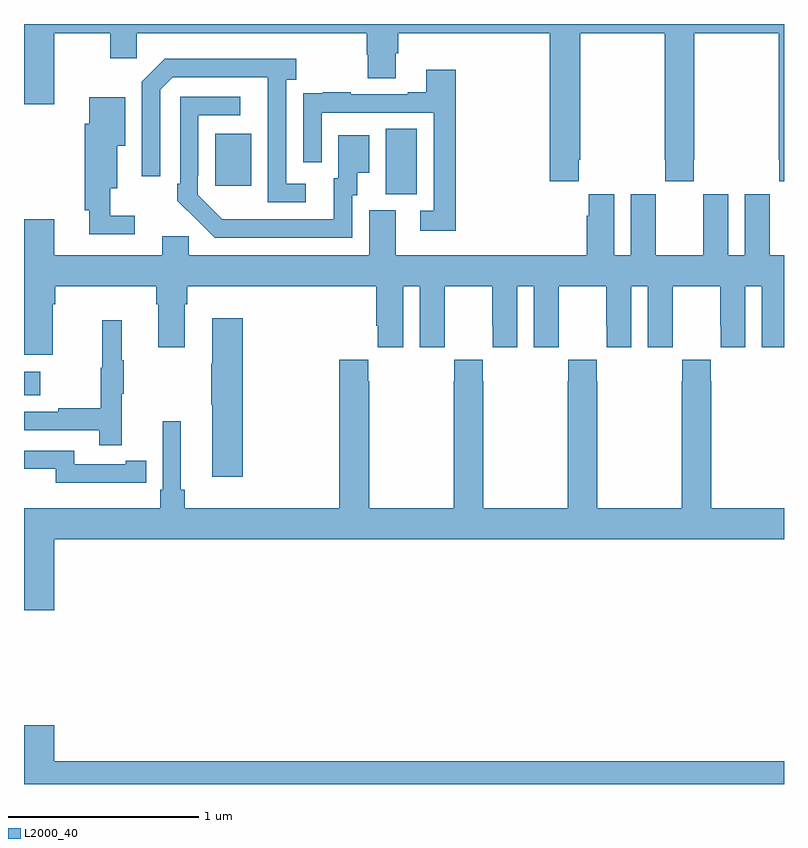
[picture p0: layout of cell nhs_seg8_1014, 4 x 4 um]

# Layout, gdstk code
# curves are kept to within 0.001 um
import gdstk
lib = gdstk.Library(unit=1e-6, precision=1e-09)
def R(c, l, rs):  # rectangles x0, y0, x1, y1
    for r in rs: c.add(gdstk.rectangle(r[:2], r[2:], *l))
def P(c, l, *ps):  # polygons
    for p in ps: c.add(gdstk.Polygon(p, *l))
L2000_40 = (2000, 40)

nhs_seg8_1014 = lib.new_cell('nhs_seg8_1014')
R(nhs_seg8_1014, L2000_40, [(177,1095.947,177.085,1096.069), (178.904,1097.005,179.068,1097.348), (178.007,1097.049,178.195,1097.323)])
P(nhs_seg8_1014, L2000_40, [(177,1097.478),(177.16,1097.478),(177.16,1097.852),(177.455,1097.852),(177.455,1097.721),(177.594,1097.721),(177.594,1097.852),(178.805,1097.852),(178.805,1097.739),(178.81,1097.739),(178.81,1097.614),(178.957,1097.614),(178.957,1097.746),(178.97,1097.746),(178.97,1097.852),(179.768,1097.852),(179.768,1097.073),(179.921,1097.073),(179.921,1097.185),(179.928,1097.185),(179.928,1097.852),(180.373,1097.852),(180.373,1097.185),(180.375,1097.185),(180.375,1097.073),(180.525,1097.073),(180.525,1097.185),(180.528,1097.185),(180.528,1097.852),(180.973,1097.852),(180.973,1097.185),(180.975,1097.185),(180.975,1097.073),(181,1097.073),(181,1097.9),(177,1097.9)],
  [(178.483,1097.058),(178.38,1097.058),(178.38,1097.606),(178.432,1097.606),(178.432,1097.716),(177.742,1097.716),(177.621,1097.595),(177.621,1097.1),(177.717,1097.1),(177.717,1097.553),(177.783,1097.619),(178.283,1097.619),(178.284,1096.962),(178.483,1096.962)],
  [(179.273,1097.659),(179.117,1097.659),(179.117,1097.542),(179.021,1097.542),(179.021,1097.529),(178.721,1097.529),(178.721,1097.542),(178.573,1097.542),(178.573,1097.535),(178.471,1097.535),(178.471,1097.426),(178.47,1097.426),(178.47,1097.172),(178.566,1097.172),(178.566,1097.433),(179.157,1097.433),(179.157,1096.917),(179.085,1096.917),(179.085,1096.812),(179.273,1096.812)],
  [(178.728,1096.998),(178.753,1096.998),(178.753,1097.117),(178.816,1097.117),(178.816,1097.314),(178.655,1097.314),(178.655,1097.088),(178.631,1097.088),(178.631,1096.872),(178.044,1096.873),(177.915,1097.001),(177.915,1097.101),(177.918,1097.101),(177.918,1097.421),(178.138,1097.421),(178.138,1097.517),(177.822,1097.517),(177.822,1097.059),(177.807,1097.059),(177.807,1096.971),(178.004,1096.776),(178.728,1096.776)],
  [(177.583,1096.891),(177.454,1096.891),(177.454,1097.036),(177.49,1097.036),(177.49,1097.258),(177.532,1097.258),(177.532,1097.515),(177.344,1097.515),(177.344,1097.376),(177.32,1097.376),(177.32,1096.919),(177.344,1096.919),(177.344,1096.794),(177.583,1096.794)],
  [(180.796,1096.52),(180.884,1096.52),(180.884,1096.2),(181,1096.2),(181,1096.684),(180.925,1096.684),(180.925,1096.892),(180.924,1096.892),(180.924,1097.005),(180.794,1097.005),(180.794,1096.684),(180.706,1096.684),(180.706,1097.005),(180.576,1097.005),(180.576,1096.892),(180.575,1096.892),(180.575,1096.684),(180.325,1096.684),(180.325,1096.892),(180.324,1096.892),(180.324,1097.005),(180.194,1097.005),(180.194,1096.684),(180.106,1096.684),(180.106,1097.005),(179.972,1097.005),(179.972,1096.892),(179.963,1096.892),(179.963,1096.684),(178.957,1096.684),(178.957,1096.92),(178.817,1096.92),(178.817,1096.684),(177.867,1096.684),(177.867,1096.782),(177.728,1096.782),(177.728,1096.684),(177.16,1096.684),(177.16,1096.873),(177,1096.873),(177,1096.158),(177.151,1096.158),(177.151,1096.424),(177.164,1096.424),(177.164,1096.52),(177.695,1096.52),(177.695,1096.424),(177.707,1096.424),(177.707,1096.2),(177.847,1096.2),(177.847,1096.424),(177.86,1096.424),(177.86,1096.52),(178.853,1096.52),(178.853,1096.312),(178.862,1096.312),(178.862,1096.2),(178.996,1096.2),(178.996,1096.52),(179.084,1096.52),(179.084,1096.2),(179.214,1096.2),(179.214,1096.312),(179.215,1096.312),(179.215,1096.52),(179.465,1096.52),(179.465,1096.312),(179.466,1096.312),(179.466,1096.2),(179.596,1096.2),(179.596,1096.52),(179.684,1096.52),(179.684,1096.2),(179.814,1096.2),(179.814,1096.312),(179.815,1096.312),(179.815,1096.52),(180.065,1096.52),(180.065,1096.312),(180.066,1096.312),(180.066,1096.2),(180.196,1096.2),(180.196,1096.52),(180.284,1096.52),(180.284,1096.2),(180.414,1096.2),(180.414,1096.312),(180.415,1096.312),(180.415,1096.52),(180.665,1096.52),(180.665,1096.312),(180.666,1096.312),(180.666,1096.2),(180.796,1096.2)],
  [(178.151,1096.351),(177.992,1096.351),(177.992,1096.112),(177.985,1096.112),(177.985,1095.895),(177.992,1095.895),(177.992,1095.516),(178.151,1095.516)],
  [(177.515,1095.955),(177.526,1095.955),(177.526,1096.129),(177.515,1096.129),(177.515,1096.342),(177.412,1096.342),(177.412,1096.092),(177.405,1096.092),(177.405,1095.878),(177.181,1095.878),(177.181,1095.858),(177,1095.858),(177,1095.762),(177.397,1095.762),(177.397,1095.684),(177.515,1095.684)],
  [(181,1095.352),(180.618,1095.352),(180.618,1096.019),(180.615,1096.019),(180.615,1096.132),(180.465,1096.132),(180.465,1096.019),(180.463,1096.019),(180.463,1095.352),(180.018,1095.352),(180.018,1096.019),(180.015,1096.019),(180.015,1096.132),(179.865,1096.132),(179.865,1096.019),(179.863,1096.019),(179.863,1095.352),(179.418,1095.352),(179.418,1096.019),(179.415,1096.019),(179.415,1096.132),(179.265,1096.132),(179.265,1096.019),(179.263,1096.019),(179.263,1095.352),(178.818,1095.352),(178.818,1096.019),(178.811,1096.019),(178.811,1096.132),(178.658,1096.132),(178.658,1095.352),(177.845,1095.352),(177.845,1095.448),(177.826,1095.448),(177.826,1095.808),(177.729,1095.808),(177.729,1095.448),(177.716,1095.448),(177.716,1095.352),(177,1095.352),(177,1094.814),(177.16,1094.814),(177.16,1095.188),(181,1095.188)],
  [(177.536,1095.486),(177.644,1095.486),(177.644,1095.602),(177.536,1095.602),(177.536,1095.582),(177.264,1095.582),(177.264,1095.654),(177,1095.654),(177,1095.558),(177.168,1095.558),(177.168,1095.485),(177.536,1095.485)],
  [(177.16,1094.209),(177,1094.209),(177,1093.9),(181,1093.9),(181,1094.02),(177.16,1094.02)])

lib.write_gds('nhs_seg8_1014.gds')
